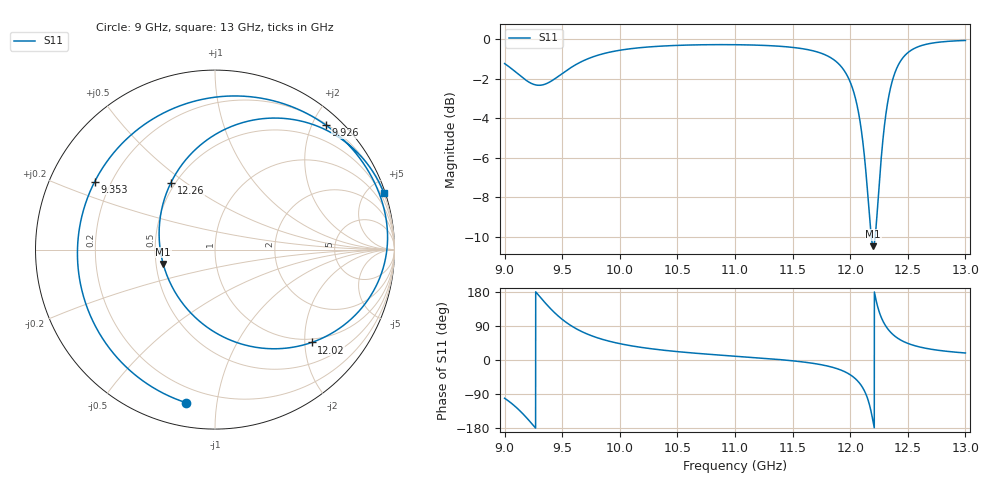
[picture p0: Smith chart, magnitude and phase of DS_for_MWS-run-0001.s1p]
! TOUCHSTONE file generated by CST DESIGN STUDIO
! Date and time: Tue Feb  4 18:16:52 2025
! Project name: C:\Work\MatlabApps\UnitCellOptimizationMatlab\CST\unitcell.cst
! Tree item: Tasks\Sweep1\SPara1\S-Parameters
! Header version: 2024
! Port assignment regex: !\s*Touchstone port\s*([0-9]+)\s*=\s*(CST MWS port|CST DES external port|CST DES block port)\s*(.+)\s* \(\"(.*)\"\)(\s*mode\s*([0-9]+))?.*
! Touchstone port assignment:
! Touchstone port 1 = CST DES external port 1 ("")
# GHz S MA R 50
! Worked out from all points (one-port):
!   4001 points, 9 GHz to 13 GHz, reference 50 ohm
!   lowest |S11| = -10.5 dB at 12.2 GHz (marker M1), VSWR 1.86, Z = 27.3 - j4.78 ohm
!   |S11| at or under -10 dB: 12.18345 GHz to 12.21662 GHz (33.17 MHz wide, 0.272 % of centre)
!   S11 on the Smith chart (normalised r, x): 9 GHz: 0.12, -0.82; 9.353 GHz: 0.14, +0.26; 9.926 GHz: 0.22, +2.22; 12.02 GHz: 0.92, -2.16; 12.26 GHz: 0.47, +0.44; 13 GHz: 0.14, +6.13
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9  0.8676 -100.9
9.104  0.8223 -125.8
9.21  0.7791 -158.9
9.281  0.7652 175.9
9.353  0.7699 150.5
9.426  0.7905 127.2
9.5  0.8187 107.3
9.589  0.8523 88.3
9.702  0.8869 70.5
9.926  0.929 48.2
10  0.9376 43.1
10.5  0.9646 22.1
11  0.9684 10.1
11.5  0.9533 -2.1
11.825  0.9 -17.5
12  0.7793 -38.9
12.023  0.7471 -43.8
12.08  0.6335 -60.7
12.122  0.5105 -80.5
12.16  0.3799 -110.3
12.2  0.2996 -164.6
12.256  0.4467 123.3
12.299  0.6107 94.5
12.346  0.7439 74.8
12.418  0.861 56.3
12.5  0.9243 43.9
12.685  0.9742 29.3
13  0.9926 18.5
